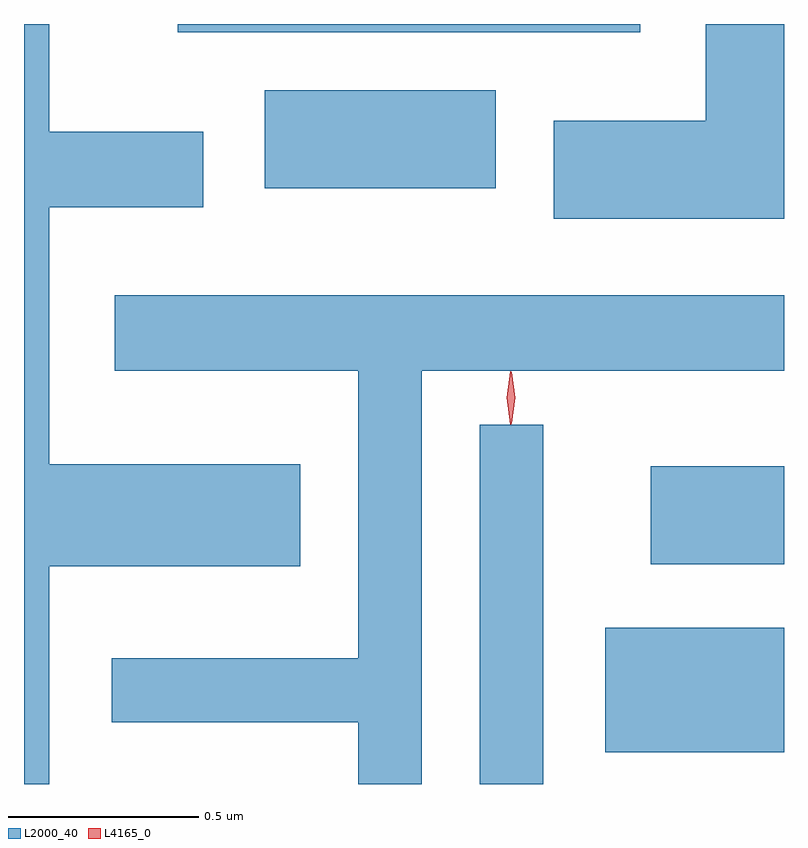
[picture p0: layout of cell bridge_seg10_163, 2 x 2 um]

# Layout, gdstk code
import gdstk
lib = gdstk.Library(unit=1e-6, precision=1e-09)
def R(c, l, rs):  # rectangles x0, y0, x1, y1
    for r in rs: c.add(gdstk.rectangle(r[:2], r[2:], *l))
def P(c, l, *ps):  # polygons
    for p in ps: c.add(gdstk.Polygon(p, *l))
L2000_40 = (2000, 40)
L4165_0 = (4165, 0)

bridge_seg10_163 = lib.new_cell('bridge_seg10_163')
R(bridge_seg10_163, L2000_40, [(1673.361,2141.228,1673.529,2142.173), (1673.691,2141.311,1674.162,2141.639), (1673.811,2141.806,1674.162,2142.064), (1672.796,2142.796,1673.404,2143.054), (1672.566,2143.206,1673.784,2143.228)])
P(bridge_seg10_163, L2000_40, [(1672.229,2141.228),(1672.229,2141.801),(1672.889,2141.801),(1672.889,2142.069),(1672.229,2142.069),(1672.229,2142.746),(1672.634,2142.746),(1672.634,2142.944),(1672.229,2142.944),(1672.229,2143.228),(1672.162,2143.228),(1672.162,2141.228)],
  [(1674.162,2143.228),(1673.956,2143.228),(1673.956,2142.974),(1673.556,2142.974),(1673.556,2142.716),(1674.162,2142.716)],
  [(1673.209,2142.316),(1674.162,2142.316),(1674.162,2142.514),(1672.401,2142.514),(1672.401,2142.316),(1673.041,2142.316),(1673.041,2141.559),(1672.393,2141.559),(1672.393,2141.391),(1673.041,2141.391),(1673.041,2141.228),(1673.209,2141.228)])
P(bridge_seg10_163, L4165_0, [(1673.443,2142.174),(1673.442,2142.175),(1673.433,2142.244),(1673.442,2142.313),(1673.443,2142.314),(1673.444,2142.313),(1673.453,2142.244),(1673.444,2142.175)],
  [(1673.444,2142.178),(1673.435,2142.244),(1673.444,2142.311),(1673.445,2142.311),(1673.445,2142.311),(1673.455,2142.244),(1673.445,2142.178),(1673.445,2142.178)])

lib.write_gds('bridge_seg10_163.gds')
